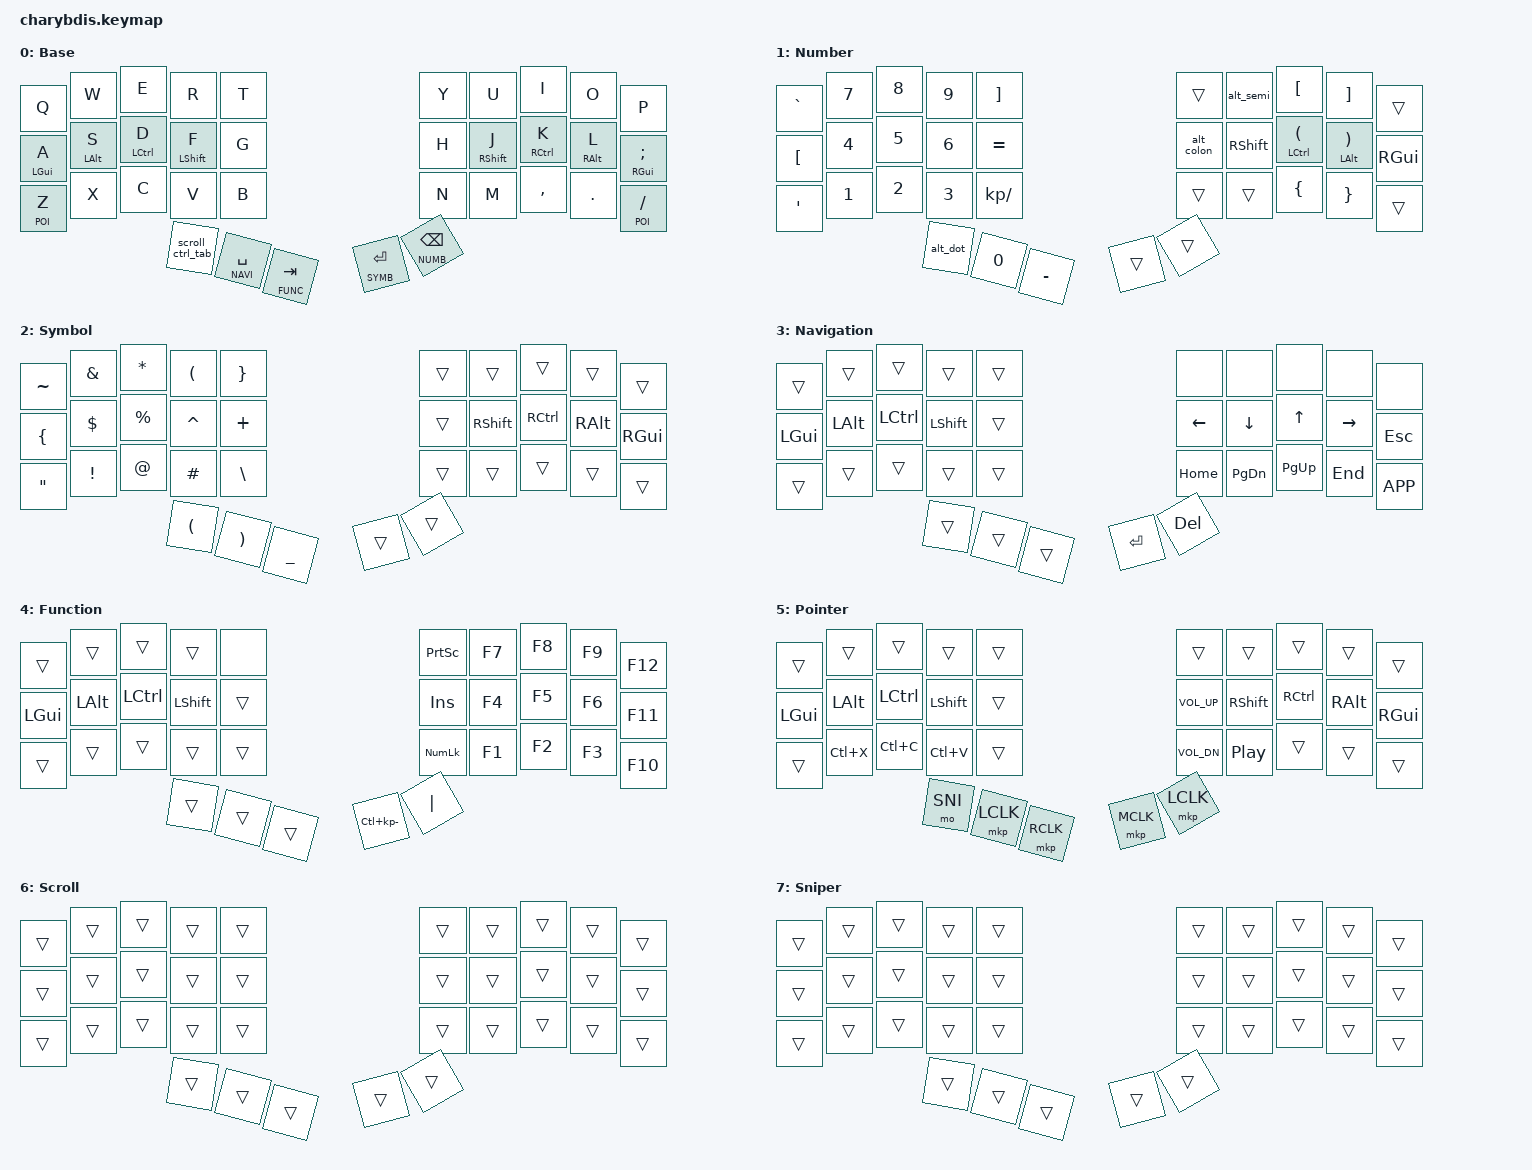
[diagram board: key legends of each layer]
#include <dt-bindings/zmk/mouse.h>
#include <behaviors/mouse_keys.dtsi>
#include <behaviors.dtsi>
#include <dt-bindings/zmk/bt.h>
#include <dt-bindings/zmk/keys.h>
#include <dt-bindings/zmk/outputs.h>
#include <dt-bindings/zmk/pointing.h>

/ {
    chosen { zmk,physical-layout = &charybdis_5col_layout; };
};

&mt {
    quick-tap-ms = <200>;
    flavor = "tap-preferred";
    tapping-term-ms = <150>;
};

&lt {
    quick-tap-ms = <200>;
    flavor = "tap-preferred";
    tapping-term-ms = <150>;
};

// Layer definitions
#define BASE 0
#define NUMB 1
#define SYMB 2
#define NAVI 3
#define FUNC 4
#define POI  5
#define SCR  6
#define SNI  7

/ {
  behaviors {
    blt: blt {
      compatible = "zmk,behavior-hold-tap";
      #binding-cells = <2>;
      flavor = "tap-preferred";
      tapping-term-ms = <150>;
      quick-tap-ms = <300>;
      require-prior-idle-ms = <100>;
      bindings = <&mo>, <&kp>;
    };

    gui_ctrlb: gui_ctrlb {
      compatible = "zmk,behavior-tap-dance";
      #binding-cells = <0>;
      tapping-term-ms = <200>;
      bindings = <&kp LGUI>, <&kp LC(B)>;
    };

    lalt_dt: lalt_dt {
      compatible = "zmk,behavior-tap-dance";
      #binding-cells = <0>;
      tapping-term-ms = <200>;
      bindings = <&kp LALT>, <&kp LC(LS(Z))>;
    };

    // Home row mods - Left hand
    hml: home_row_mod_left {
      compatible = "zmk,behavior-hold-tap";
      #binding-cells = <2>;
      flavor = "tap-preferred";
      require-prior-idle-ms = <150>;
      tapping-term-ms = <150>;
      quick-tap-ms = <175>;
      bindings = <&kp>, <&kp>;
      hold-trigger-key-positions = <5 6 7 8 9 15 16 17 18 19 25 26 27 28 29 33 34>;
      hold-trigger-on-release;
    };

    // Home row mods - Right hand
    hmr: home_row_mod_right {
      compatible = "zmk,behavior-hold-tap";
      #binding-cells = <2>;
      flavor = "tap-preferred";
      require-prior-idle-ms = <150>;
      tapping-term-ms = <150>;
      quick-tap-ms = <175>;
      bindings = <&kp>, <&kp>;
      hold-trigger-key-positions = <0 1 2 3 4 10 11 12 13 14 20 21 22 23 24 30 31 32>;
      hold-trigger-on-release;
    };

    mo_tog: mo_tog {
      compatible = "zmk,behavior-hold-tap";
      #binding-cells = <2>;
      flavor = "tap-preferred";
      tapping-term-ms = <150>;
      bindings = <&mo>, <&tog>;
    };

    scroll_ctrl_tab: scroll_ctrl_tab {
      compatible = "zmk,behavior-mod-morph";
      #binding-cells = <0>;
      bindings = <&mo_tog SCR SCR>, <&kp RC(LS(TAB))>;
      mods = <(MOD_LCTL|MOD_RCTL)>;
    };
  };

  macros {
    ctrl_cmd_hold: ctrl_cmd_hold {
      compatible = "zmk,behavior-macro";
      wait-ms = <0>;
      tap-ms = <10>;
      #binding-cells = <0>;
      bindings
        = <&macro_press &kp LCTRL &kp LGUI &mkp LCLK>
        , <&macro_pause_for_release>
        , <&macro_release &mkp LCLK &kp LCTRL &kp LGUI>
        ;
    };

    alt_dot: alt_dot {
      compatible = "zmk,behavior-macro";
      #binding-cells = <0>;
      wait-ms = <30>;
      tap-ms = <10>;
      bindings
        = <&macro_press &kp LALT>
        , <&macro_tap &kp KP_N0 &kp KP_N0 &kp KP_N4 &kp KP_N6>
        , <&macro_release &kp LALT>
        ;
    };

    alt_bslh: alt_bslh {
      compatible = "zmk,behavior-macro";
      #binding-cells = <0>;
      wait-ms = <30>;
      tap-ms = <10>;
      bindings
        = <&macro_press &kp LALT>
        , <&macro_tap &kp KP_N0 &kp KP_N0 &kp KP_N9 &kp KP_N2>
        , <&macro_release &kp LALT>
        ;
    };

    alt_colon: alt_colon {
      compatible = "zmk,behavior-macro";
      #binding-cells = <0>;
      wait-ms = <30>;
      tap-ms = <10>;
      bindings
        = <&macro_press &kp LALT>
        , <&macro_tap &kp KP_N0 &kp KP_N0 &kp KP_N5 &kp KP_N8>
        , <&macro_release &kp LALT>
        ;
    };

    alt_semi: alt_semi {
      compatible = "zmk,behavior-macro";
      #binding-cells = <0>;
      wait-ms = <30>;
      tap-ms = <10>;
      bindings
        = <&macro_press &kp LALT>
        , <&macro_tap &kp KP_N0 &kp KP_N0 &kp KP_N5 &kp KP_N9>
        , <&macro_release &kp LALT>
        ;
    };
  };

   combos {
    compatible = "zmk,combos";
    timeout-ms = <20>;
    require-prior-idle-ms = <250>;

    combo_l_clk {
      key-positions = <11 12>;
      bindings = <&mkp LCLK>;
      layers = <BASE>;
    };

    combo_r_clk {
      key-positions = <21 22>;
      bindings = <&mkp RCLK>;
      layers = <BASE>;
    };

    combo_CAPS {
      key-positions = <12 17>;
      bindings = <&kp CAPSLOCK>;
      layers = <BASE>;
    };

    combo_new_window {
      key-positions = <7 8>;
      bindings = <&kp LG(E)>;
      layers = <BASE>;
    };

    combo_close_1 {
      key-positions = <20 21>;
      bindings = <&kp LA(F4)>;
      layers = <BASE>;
    };

    combo_close_2 {
      key-positions = <28 29>;
      bindings = <&kp LA(F4)>;
      layers = <BASE>;
    };

    combo_back {
      key-positions = <17 18>;
      bindings = <&kp LA(LEFT)>;
      layers = <NAVI>;
    };

    combo_up_folder {
      key-positions = <27 28>;
      bindings = <&kp LA(UP)>;
      layers = <NAVI>;
    };

    combo_luanguage {
      key-positions = <13 16>;
      bindings = <&kp LG(SPACE)>;
      layers = <BASE>;
    };

    combo_unlock {
      key-positions = <0 4>;
      bindings = <&studio_unlock>;
      layers = <BASE>;
    };

    combo_del {
      key-positions = <23 24>;
      bindings = <&kp DEL>;
      layers = <BASE>;
    };
  };

  keymap {
    compatible = "zmk,keymap";

// ╭─────────────┬─────────────┬─────────────┬─────────────┬─────────────╮   ╭─────────────┬─────────────┬─────────────┬─────────────┬─────────────╮
//    0             1             2             3             4                 5             6             7             8             9
// ├─────────────┼─────────────┼─────────────┼─────────────┼─────────────┤   ├─────────────┼─────────────┼─────────────┼─────────────┼─────────────┤
//   10            11            12            13            14                15            16            17            18            19
// ├─────────────┼─────────────┼─────────────┼─────────────┼─────────────┤   ├─────────────┼─────────────┼─────────────┼─────────────┼─────────────┤
//   20            21            22            23            24                25            26            27            28            29
// ╰─────────────┴─────────────┴─────────────┴─────────────┴─────────────╯   ╰─────────────┴─────────────┴─────────────┴─────────────┴─────────────╯
//                              ╭─────────────┬─────────────┬─────────────╮   ╭─────────────┬─────────────╮
//                                30            31            32                33            34
//                              ╰─────────────┴─────────────┴─────────────╯   ╰─────────────┴─────────────╯

    base_layer {
      label = "BASE";
      display-name = "Base";
      bindings = <
// ╭─────────────┬─────────────┬─────────────┬─────────────┬─────────────╮   ╭─────────────┬─────────────┬─────────────┬─────────────┬─────────────╮
    &kp Q         &kp W         &kp E         &kp R         &kp T             &kp Y         &kp U         &kp I         &kp O         &kp P
// ├─────────────┼─────────────┼─────────────┼─────────────┼─────────────┤   ├─────────────┼─────────────┼─────────────┼─────────────┼─────────────┤
    &hml LGUI A   &hml LALT S   &hml LCTRL D  &hml LSHFT F  &kp G             &kp H         &hml RSHFT J  &hml RCTRL K  &hml RALT L   &hml RGUI SEMI
// ├─────────────┼─────────────┼─────────────┼─────────────┼─────────────┤   ├─────────────┼─────────────┼─────────────┼─────────────┼─────────────┤
    &lt POI Z     &kp X         &kp C         &kp V         &kp B             &kp N         &kp M         &kp COMMA     &kp DOT       &lt POI FSLH
// ╰─────────────┴─────────────┴─────────────┴─────────────┴─────────────╯   ╰─────────────┴─────────────┴─────────────┴─────────────┴─────────────╯
//                              ╭─────────────┬─────────────┬─────────────╮   ╭─────────────┬─────────────╮
                          &scroll_ctrl_tab  &lt NAVI SPACE &lt FUNC TAB     &lt SYMB ENTER &lt NUMB BSPC
//                              ╰─────────────┴─────────────┴─────────────╯   ╰─────────────┴─────────────╯
      >;
    };

    number_layer {
      label = "NUMB";
      display-name = "Number";
      bindings = <
// ╭─────────────┬─────────────┬─────────────┬─────────────┬─────────────╮   ╭─────────────┬─────────────┬─────────────┬─────────────┬─────────────╮
    &kp GRAVE     &kp N7        &kp N8        &kp N9        &kp RBKT          &trans        &alt_semi     &kp LBKT      &kp RBKT      &trans
// ├─────────────┼─────────────┼─────────────┼─────────────┼─────────────┤   ├─────────────┼─────────────┼─────────────┼─────────────┼─────────────┤
    &kp LBKT      &kp N4        &kp N5        &kp N6        &kp EQUAL         &alt_colon    &kp RSHFT    &mt LCTRL LPAR &mt LALT RPAR &kp RGUI
// ├─────────────┼─────────────┼─────────────┼─────────────┼─────────────┤   ├─────────────┼─────────────┼─────────────┼─────────────┼─────────────┤
    &kp APOS      &kp N1        &kp N2        &kp N3        &kp KP_DIVIDE     &trans        &trans        &kp LBRC      &kp RBRC      &trans
// ╰─────────────┴─────────────┴─────────────┴─────────────┴─────────────╯   ╰─────────────┴─────────────┴─────────────┴─────────────┴─────────────╯
//                              ╭─────────────┬─────────────┬─────────────╮   ╭─────────────┬─────────────╮
                                 &alt_dot      &kp N0        &kp MINUS         &trans        &trans
//                              ╰─────────────┴─────────────┴─────────────╯   ╰─────────────┴─────────────╯
      >;
    };

    symbol_layer {
      label = "SYMB";
      display-name = "Symbol";
      bindings = <
// ╭─────────────┬─────────────┬─────────────┬─────────────┬─────────────╮   ╭─────────────┬─────────────┬─────────────┬─────────────┬─────────────╮
    &kp TILDE     &kp AMPS      &kp ASTRK     &kp LPAR      &kp RBRC          &trans        &trans        &trans        &trans       &trans
// ├─────────────┼─────────────┼─────────────┼─────────────┼─────────────┤   ├─────────────┼─────────────┼─────────────┼─────────────┼─────────────┤
    &kp LBRC      &kp DLLR      &kp PRCNT     &kp CARET     &kp PLUS          &trans        &kp RSHFT     &kp RCTRL     &kp RALT      &kp RGUI
// ├─────────────┼─────────────┼─────────────┼─────────────┼─────────────┤   ├─────────────┼─────────────┼─────────────┼─────────────┼─────────────┤
    &kp DQT       &kp EXCL      &kp AT        &kp HASH      &kp BSLH          &trans        &trans        &trans        &trans        &trans
// ╰─────────────┴─────────────┴─────────────┴─────────────┴─────────────╯   ╰─────────────┴─────────────┴─────────────┴─────────────┴─────────────╯
//                              ╭─────────────┬─────────────┬─────────────╮   ╭─────────────┬─────────────╮
                                 &kp LPAR      &kp RPAR      &kp UNDER         &trans        &trans
//                              ╰─────────────┴─────────────┴─────────────╯   ╰─────────────┴─────────────╯
      >;
    };

    navigation_layer {
      label = "NAVI";
      display-name = "Navigation";
      bindings = <
// ╭─────────────┬─────────────┬─────────────┬─────────────┬─────────────╮   ╭─────────────┬─────────────┬─────────────┬─────────────┬─────────────╮
    &trans        &trans        &trans        &trans        &trans            &none         &none         &none         &none         &none
// ├─────────────┼─────────────┼─────────────┼─────────────┼─────────────┤   ├─────────────┼─────────────┼─────────────┼─────────────┼─────────────┤
    &kp LGUI      &kp LALT      &kp LCTRL     &kp LSHFT     &trans            &kp LEFT      &kp DOWN      &kp UP        &kp RIGHT     &kp ESC
// ├─────────────┼─────────────┼─────────────┼─────────────┼─────────────┤   ├─────────────┼─────────────┼─────────────┼─────────────┼─────────────┤
    &trans        &trans        &trans        &trans        &trans            &kp HOME      &kp PG_DN     &kp PG_UP     &kp END       &kp K_APP
// ╰─────────────┴─────────────┴─────────────┴─────────────┴─────────────╯   ╰─────────────┴─────────────┴─────────────┴─────────────┴─────────────╯
//                              ╭─────────────┬─────────────┬─────────────╮   ╭─────────────┬─────────────╮
                                 &trans        &trans        &trans            &kp ENTER     &kp DEL
//                              ╰─────────────┴─────────────┴─────────────╯   ╰─────────────┴─────────────╯
      >;
    };

    function_layer {
      label = "FUNC";
      display-name = "Function";
      bindings = <
// ╭─────────────┬─────────────┬─────────────┬─────────────┬─────────────╮   ╭─────────────┬─────────────┬─────────────┬─────────────┬─────────────╮
    &trans        &trans        &trans        &trans        &none             &kp PSCRN     &kp F7        &kp F8        &kp F9        &kp F12
// ├─────────────┼─────────────┼─────────────┼─────────────┼─────────────┤   ├─────────────┼─────────────┼─────────────┼─────────────┼─────────────┤
    &kp LGUI      &kp LALT      &kp LCTRL     &kp LSHFT     &trans            &kp INS       &kp F4        &kp F5        &kp F6        &kp F11
// ├─────────────┼─────────────┼─────────────┼─────────────┼─────────────┤   ├─────────────┼─────────────┼─────────────┼─────────────┼─────────────┤
    &trans        &trans        &trans        &trans        &trans            &kp KP_NUM    &kp F1        &kp F2        &kp F3        &kp F10
// ╰─────────────┴─────────────┴─────────────┴─────────────┴─────────────╯   ╰─────────────┴─────────────┴─────────────┴─────────────┴─────────────╯
//                              ╭─────────────┬─────────────┬─────────────╮   ╭─────────────┬─────────────╮
                                 &trans        &trans        &trans            &kp LC(KP_MINUS) &kp PIPE
//                              ╰─────────────┴─────────────┴─────────────╯   ╰─────────────┴─────────────╯
      >;
    };

    pointer_layer {
      label = "POINTER";
      display-name = "Pointer";
      bindings = <
// ╭─────────────┬─────────────┬─────────────┬─────────────┬─────────────╮   ╭─────────────┬─────────────┬─────────────┬─────────────┬─────────────╮
    &trans        &trans        &trans        &trans        &trans            &trans        &trans        &trans        &trans        &trans
// ├─────────────┼─────────────┼─────────────┼─────────────┼─────────────┤   ├─────────────┼─────────────┼─────────────┼─────────────┼─────────────┤
    &kp LGUI      &kp LALT      &kp LCTRL     &kp LSHFT     &trans            &kp C_VOL_UP  &kp RSHFT     &kp RCTRL     &kp RALT      &kp RGUI
// ├─────────────┼─────────────┼─────────────┼─────────────┼─────────────┤   ├─────────────┼─────────────┼─────────────┼─────────────┼─────────────┤
    &trans        &kp LC(X)     &kp LC(C)     &kp LC(V)     &trans            &kp C_VOL_DN  &kp C_PP      &trans        &trans        &trans
// ╰─────────────┴─────────────┴─────────────┴─────────────┴─────────────╯   ╰─────────────┴─────────────┴─────────────┴─────────────┴─────────────╯
//                              ╭─────────────┬─────────────┬─────────────╮   ╭─────────────┬─────────────╮
                                 &mo SNI       &mkp LCLK     &mkp RCLK         &mkp MCLK     &mkp LCLK
//                              ╰─────────────┴─────────────┴─────────────╯   ╰─────────────┴─────────────╯
      >;
    };

    scroll_layer {
      label = "SCR";
      display-name = "Scroll";
      bindings = <
// ╭─────────────┬─────────────┬─────────────┬─────────────┬─────────────╮   ╭─────────────┬─────────────┬─────────────┬─────────────┬─────────────╮
    &trans        &trans        &trans        &trans        &trans            &trans        &trans        &trans        &trans        &trans
// ├─────────────┼─────────────┼─────────────┼─────────────┼─────────────┤   ├─────────────┼─────────────┼─────────────┼─────────────┼─────────────┤
    &trans        &trans       &trans         &trans        &trans            &trans        &trans        &trans        &trans        &trans
// ├─────────────┼─────────────┼─────────────┼─────────────┼─────────────┤   ├─────────────┼─────────────┼─────────────┼─────────────┼─────────────┤
    &trans        &trans        &trans        &trans        &trans            &trans        &trans        &trans        &trans        &trans
// ╰─────────────┴─────────────┴─────────────┴─────────────┴─────────────╯   ╰─────────────┴─────────────┴─────────────┴─────────────┴─────────────╯
//                              ╭─────────────┬─────────────┬─────────────╮   ╭─────────────┬─────────────╮
                                 &trans        &trans        &trans            &trans        &trans
//                              ╰─────────────┴─────────────┴─────────────╯   ╰─────────────┴─────────────╯
      >;
    };

    sniper_layer {
      label = "SNI";
      display-name = "Sniper";
      bindings = <
// ╭─────────────┬─────────────┬─────────────┬─────────────┬─────────────╮   ╭─────────────┬─────────────┬─────────────┬─────────────┬─────────────╮
    &trans        &trans        &trans        &trans        &trans            &trans        &trans        &trans        &trans        &trans
// ├─────────────┼─────────────┼─────────────┼─────────────┼─────────────┤   ├─────────────┼─────────────┼─────────────┼─────────────┼─────────────┤
    &trans        &trans        &trans        &trans        &trans            &trans        &trans        &trans        &trans        &trans
// ├─────────────┼─────────────┼─────────────┼─────────────┼─────────────┤   ├─────────────┼─────────────┼─────────────┼─────────────┼─────────────┤
    &trans        &trans        &trans        &trans        &trans            &trans        &trans        &trans        &trans        &trans
// ╰─────────────┴─────────────┴─────────────┴─────────────┴─────────────╯   ╰─────────────┴─────────────┴─────────────┴─────────────┴─────────────╯
//                              ╭─────────────┬─────────────┬─────────────╮   ╭─────────────┬─────────────╮
                                 &trans        &trans        &trans            &trans        &trans
//                              ╰─────────────┴─────────────┴─────────────╯   ╰─────────────┴─────────────╯
      >;
    };

  };
};
